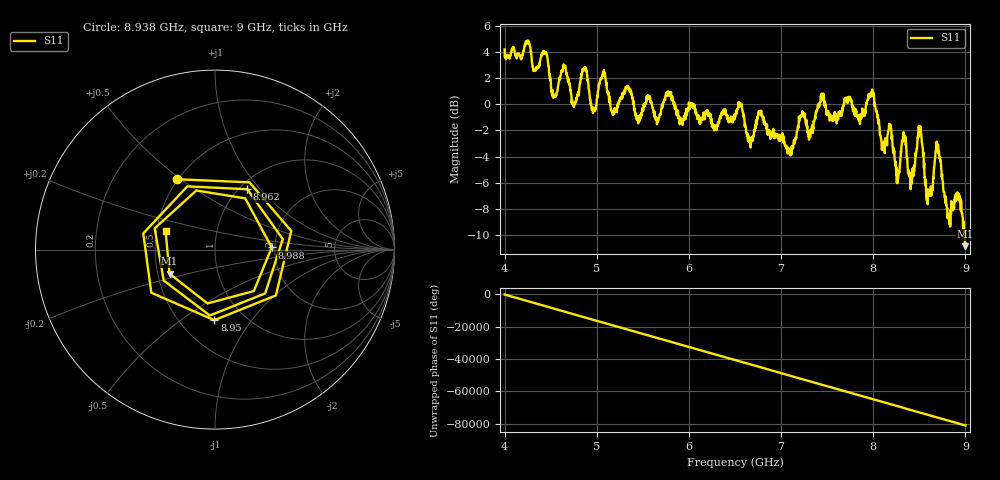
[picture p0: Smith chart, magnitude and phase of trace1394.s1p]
! Created with skrf 1.8.0 (http://scikit-rf.org).
# Hz S RI R 50.0
!freq ReS11 ImS11
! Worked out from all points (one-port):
!   1601 points, 4 GHz to 9 GHz, reference 50 ohm
!   lowest |S11| = -10.9 dB at 8.997 GHz (marker M1), VSWR 1.80, Z = 28.9 - j8.45 ohm
!   |S11| at or under -10 dB: 8.987972 GHz to 8.988667 GHz (695.3 kHz wide, 0.00774 % of centre); 8.991078 GHz to end of sweep
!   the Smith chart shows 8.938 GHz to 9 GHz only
!   S11 on the Smith chart (normalised r, x): 8.938 GHz: 0.50, +0.48; 8.95 GHz: 0.73, -0.68; 8.962 GHz: 1.09, +0.86; 8.988 GHz: 1.92, +0.05; 9 GHz: 0.56, +0.13
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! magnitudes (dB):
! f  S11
! 4 GHz  4.2
! 4.438 GHz  3.9
! 4.538 GHz  0.6
! 4.625 GHz  2.6
! 4.753 GHz  -0.2
! 4.866 GHz  2.8
! 4.962 GHz  -0.4
! 5.066 GHz  2.4
! 5.25 GHz  0.3
! 5.875 GHz  -0.6
! 6.5 GHz  -1.0
! 7.125 GHz  -3.4
! 7.441 GHz  0.3
! 7.75 GHz  0.4
! 7.984 GHz  0.9
! 8.259 GHz  -5.4
! 8.331 GHz  -2.5
! 8.375 GHz  -4.9
! 8.506 GHz  -1.8
! 8.594 GHz  -6.5
! 8.7 GHz  -3.2
! 8.812 GHz  -8.5
! 8.938 GHz  -7.0
! 8.95 GHz  -8.1
! 8.962 GHz  -8.4
! 8.988 GHz  -10.0
! 8.997 GHz  -10.9
! 9 GHz  -10.6
